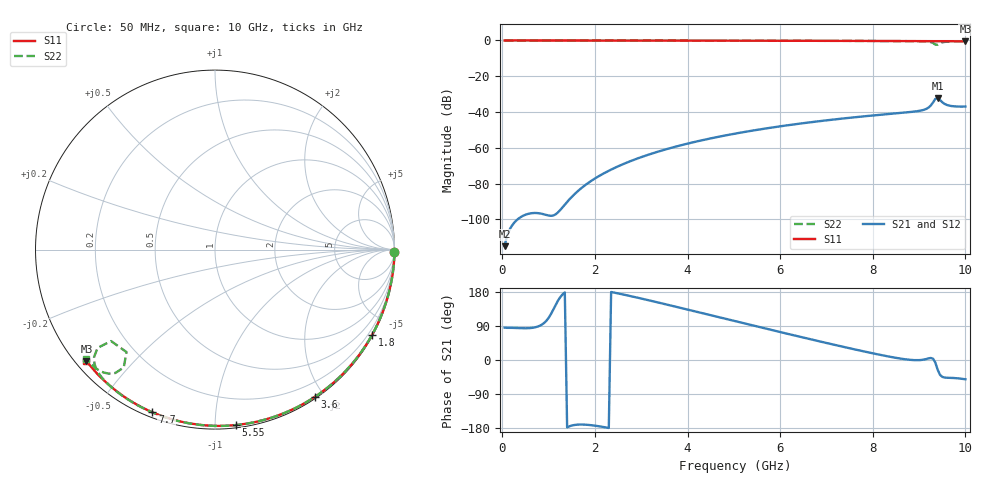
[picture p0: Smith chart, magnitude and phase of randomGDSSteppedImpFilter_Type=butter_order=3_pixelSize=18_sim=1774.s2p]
! freq	dB(S11)	phase(S11)	dB(S12)	phase(S12)
!  dB(S21)	phase(S21)	dB(S22)	phase(S22)
!S-par simulation data
#  GHz  S  DB  R 50
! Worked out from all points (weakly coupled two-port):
!   200 points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, 50 MHz to 10 GHz, reference 50 ohm
!   highest |S21| = -32.08 dB at 9.4 GHz (marker M1); lowest = -114.9 dB at 50 MHz (marker M2)
!   lowest |S11| = -0.5 dB at 10 GHz (marker M3), VSWR 37.00, Z = 1.54 - j18.6 ohm
!   |S11| at or under -10 dB: nowhere
!   |S22| runs from -2.4 to 0.0 dB; largest |S21 - S12| = 0
!   S11 on the Smith chart (normalised r, x): 50 MHz: open; 1.8 GHz: 0.03, -3.92; 3.6 GHz: 0.02, -1.89; 5.55 GHz: 0.02, -1.13; 7.7 GHz: 0.02, -0.69; 10 GHz: 0.03, -0.37
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0.05  -0.00 -0.8  -114.92 85.3  -114.92 85.3  -0.00 -0.8
0.9  -0.02 -14.4  -97.12 97.4  -97.12 97.4  -0.02 -14.7
1.75  -0.04 -27.8  -81.61 -170.4  -81.61 -170.4  -0.04 -28.2
1.8  -0.04 -28.6  -80.63 -170.7  -80.63 -170.7  -0.04 -29.0
2.55  -0.05 -40.1  -69.74 174.5  -69.74 174.5  -0.05 -40.8
3.4  -0.07 -52.9  -61.82 150.8  -61.82 150.8  -0.07 -53.7
3.6  -0.08 -55.8  -60.32 144.9  -60.32 144.9  -0.08 -56.7
4.3  -0.09 -65.9  -55.82 124.2  -55.82 124.2  -0.09 -67.0
5.05  -0.12 -76.4  -51.93 101.8  -51.93 101.8  -0.12 -77.6
5.55  -0.14 -83.2  -49.73 87.0  -49.73 87.0  -0.14 -84.6
6.7  -0.19 -98.4  -45.55 53.5  -45.55 53.5  -0.19 -100.1
7.7  -0.25 -111.0  -42.67 25.5  -42.67 25.5  -0.26 -113.2
8.35  -0.30 -119.1  -41.07 9.0  -41.07 9.0  -0.32 -121.8
9.1  -0.37 -128.2  -38.77 1.0  -38.77 1.0  -0.50 -133.8
9.2  -0.39 -129.4  -37.57 4.1  -37.57 4.1  -0.68 -136.6
9.3  -0.40 -130.6  -34.68 3.6  -34.68 3.6  -1.38 -140.1
9.35  -0.40 -131.2  -32.69 -6.5  -32.69 -6.5  -2.26 -138.6
9.4  -0.40 -131.8  -32.08 -25.2  -32.08 -25.2  -2.45 -130.8
9.45  -0.40 -132.4  -33.21 -38.9  -33.21 -38.9  -1.61 -127.7
9.5  -0.41 -133.0  -34.50 -44.5  -34.50 -44.5  -1.07 -128.9
9.6  -0.42 -134.3  -36.03 -46.8  -36.03 -46.8  -0.69 -132.1
10  -0.47 -139.1  -36.93 -50.8  -36.93 -50.8  -0.53 -139.7
